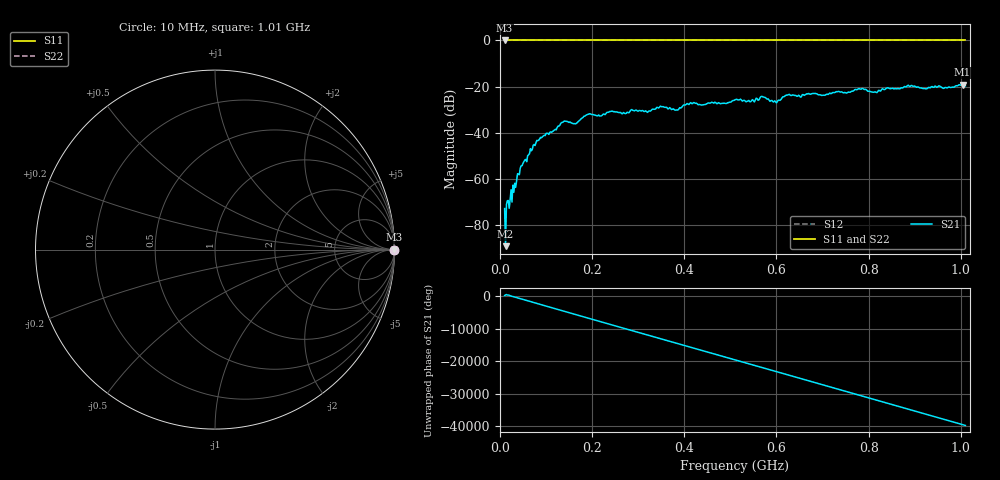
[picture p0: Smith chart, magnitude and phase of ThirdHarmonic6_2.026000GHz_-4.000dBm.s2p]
! 8/17/2025 12:18:42 AM
! C:\ANRITSUVNA\TEMP\TEMP.S2P
! CHANNEL.1
! TR.MEASUREMENT
! RAW.DATA
! RF.CORRECTION.OFF
! AVERAGING.OFF
! IF.BANDWIDTH: 5KHZ
! SWEEPTYPE:  FREQ.SWEEP(Linear)
! Reference Plane Port Info
! PORT:  PORT1  PORT2
! DISTANCE:  0  m  0  m
! TIME:  0  s  0  s
! PHASE.OFFSET:  0  deg.  0  deg.
! LOSS:  0  dB  0  dB
! REF.LOSS:  0  dB  0  dB
! REF.FREQ:  0  Hz  0  Hz
! Power Info
! POWER:  -20  dBm  -20  dBm
! EFF.POWER:  -20  dBm  -20  dBm
! SOURCE.ATTEN:  0  dB  0  dB
! TEST.ATTEN:  0  dB  0  dB
# GHZ S RI R 50.0
! FREQ.GHZ  S11RE  S11IM  S21RE  S21IM  S12RE  S12IM  S22RE  S22IM
!; PortSelection: Port_12
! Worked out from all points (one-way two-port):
!   501 points, 10 MHz to 1.01 GHz, reference 50 ohm
!   highest |S21| = -19.14 dB at 1.004 GHz (marker M1); lowest = -89.4 dB at 12 MHz (marker M2)
!   lowest |S11| = 0.0 dB at 10 MHz (marker M3)
!   |S11| at or under -10 dB: nowhere
!   |S22| runs from 0.0 to 0.0 dB; largest |S21 - S12| = 1.1
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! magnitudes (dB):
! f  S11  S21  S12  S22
! 10 MHz  0.0  -73.0  0.0  0.0
! 12 MHz  0.0  -89.4  0.0  0.0
! 16 MHz  0.0  -69.6  0.0  0.0
! 48 MHz  0.0  -54.3  0.0  0.0
! 76 MHz  0.0  -45.6  0.0  0.0
! 136 MHz  0.0  -35.6  0.0  0.0
! 162 MHz  0.0  -36.1  0.0  0.0
! 178 MHz  0.0  -33.8  0.0  0.0
! 192 MHz  0.0  -32.0  0.0  0.0
! 322 MHz  0.0  -30.8  0.0  0.0
! 344 MHz  0.0  -29.4  0.0  0.0
! 384 MHz  0.0  -30.2  0.0  0.0
! 416 MHz  0.0  -27.4  0.0  0.0
! 510 MHz  0.0  -25.8  0.0  0.0
! 548 MHz  0.0  -25.7  0.0  0.0
! 570 MHz  0.0  -24.5  0.0  0.0
! 598 MHz  0.0  -26.6  0.0  0.0
! 624 MHz  0.0  -23.7  0.0  0.0
! 678 MHz  0.0  -23.1  0.0  0.0
! 844 MHz  0.0  -20.7  0.0  0.0
! 1.004 GHz  0.0  -19.1  0.0  0.0
! 1.01 GHz  0.0  -19.7  0.0  0.0
